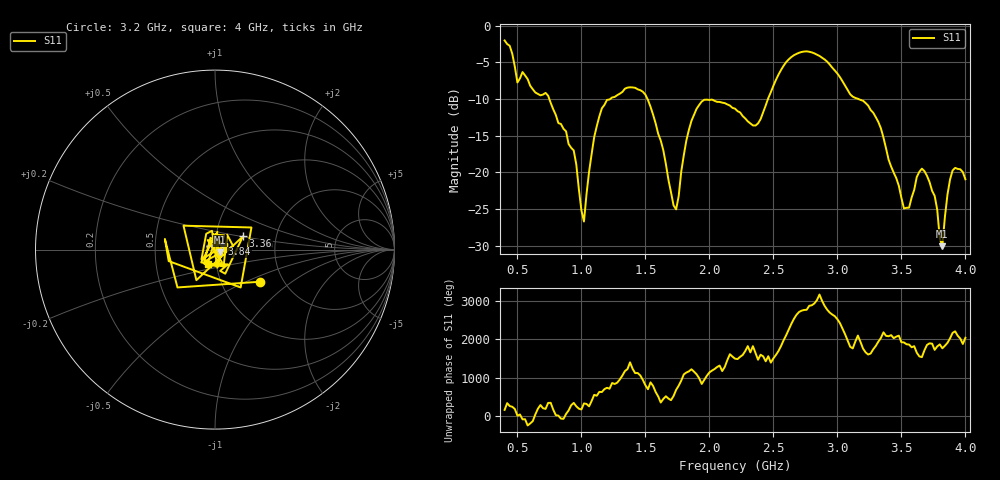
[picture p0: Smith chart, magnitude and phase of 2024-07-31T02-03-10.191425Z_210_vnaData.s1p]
!Created with skrf (http://scikit-rf.org).
# Hz S RI R 50.0
!freq ReS11 ImS11
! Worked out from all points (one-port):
!   181 points, 400 MHz to 4 GHz, reference 50 ohm
!   lowest |S11| = -30.1 dB at 3.82 GHz (marker M1), VSWR 1.06, Z = 52.8 - j1.68 ohm
!   |S11| at or under -10 dB: 749.2 MHz to 1.225 GHz (475.6 MHz wide, 48.2 % of centre); 1.516 GHz to 2.458 GHz (941.4 MHz wide, 47.4 % of centre); 3.164 GHz to end of sweep
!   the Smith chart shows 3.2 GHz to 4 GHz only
!   S11 on the Smith chart (normalised r, x): 3.2 GHz: 1.52, -0.60; 3.36 GHz: 1.35, +0.21; 3.84 GHz: 1.08, +0.06; 4 GHz: 0.91, -0.15
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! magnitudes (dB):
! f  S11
! 400 MHz  -2.0
! 500 MHz  -7.8
! 720 MHz  -9.2
! 860 MHz  -14.1
! 940 MHz  -17.0
! 1.02 GHz  -26.7
! 1.08 GHz  -17.5
! 1.14 GHz  -12.4
! 1.3 GHz  -9.3
! 1.5 GHz  -9.4
! 1.72 GHz  -24.5
! 1.76 GHz  -23.2
! 1.82 GHz  -15.6
! 1.9 GHz  -11.3
! 2.2 GHz  -11.3
! 2.38 GHz  -13.3
! 2.66 GHz  -4.0
! 2.88 GHz  -4.4
! 3.1 GHz  -9.4
! 3.2 GHz  -10.2
! 3.36 GHz  -15.3
! 3.56 GHz  -24.8
! 3.68 GHz  -19.8
! 3.76 GHz  -23.2
! 3.82 GHz  -30.1
! 3.84 GHz  -26.1
! 3.9 GHz  -19.7
! 4 GHz  -20.9
